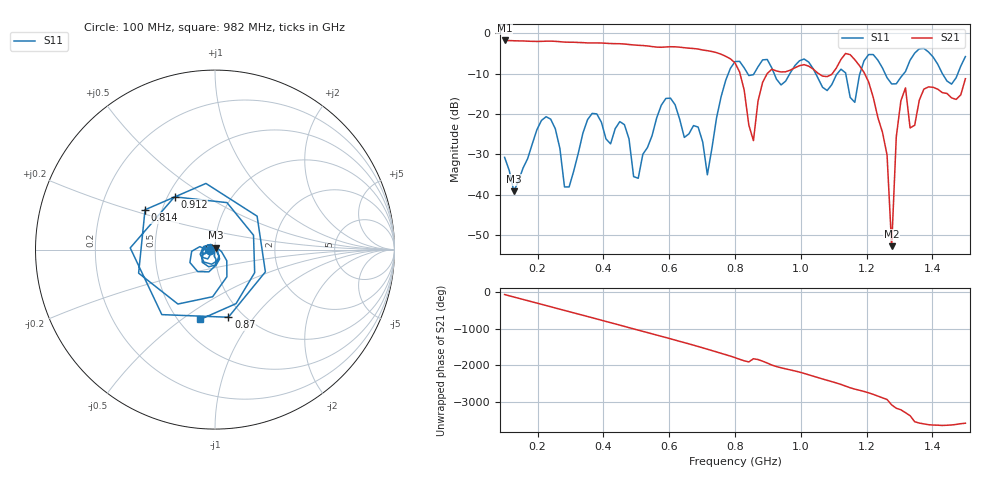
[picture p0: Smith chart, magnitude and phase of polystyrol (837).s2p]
! NanoVNA-App
! Date: 2025-09-25 15:36:24
! Start: 100MHz Stop: 1,5GHz Points: 101
! S-Parameter data: F S11 S21 S12 S22
# Hz S RI R 50
!  Frequency  S11_Real  S11_Imag  S21_Real  S21_Imag  S12_Real  S12_Imag  S22_Real  S22_Imag
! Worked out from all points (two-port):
!   101 points, 100 MHz to 1.5 GHz, reference 50 ohm
!   highest |S21| = -1.80 dB at 100 MHz (marker M1); lowest = -52.7 dB at 1.276 GHz (marker M2)
!   |S21| within 3 dB of the highest: start of sweep to 743.3 MHz
!   lowest |S11| = -39.1 dB at 128 MHz (marker M3), VSWR 1.02, Z = 50.3 + j1.06 ohm
!   |S11| at or under -10 dB: start of sweep to 779.8 MHz; 1.045 GHz to 1.111 GHz (65.87 MHz wide, 6.11 % of centre); 1.256 GHz to 1.313 GHz (56.65 MHz wide, 4.41 % of centre) (the widest 3 of 7)
!   S12 and S22 are empty: the file has one direction only
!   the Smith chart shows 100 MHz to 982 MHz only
!   S11 on the Smith chart (normalised r, x): 100 MHz: 0.94, -0.01; 814 MHz: 0.40, +0.22; 870 MHz: 0.85, -0.75; 912 MHz: 0.54, +0.37; 982 MHz: 0.64, -0.59
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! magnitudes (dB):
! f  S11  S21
! 100 MHz  -30.7  -1.8
! 128 MHz  -39.1  -1.9
! 212 MHz  -21.6  -2.0
! 282 MHz  -38.0  -2.2
! 338 MHz  -24.7  -2.3
! 506 MHz  -35.9  -3.0
! 576 MHz  -17.8  -3.5
! 716 MHz  -35.0  -4.3
! 800 MHz  -7.0  -7.3
! 814 MHz  -7.0  -9.6
! 856 MHz  -10.3  -26.6
! 870 MHz  -8.3  -16.8
! 912 MHz  -8.6  -8.9
! 982 MHz  -8.0  -8.6
! 1.038 GHz  -8.9  -8.9
! 1.164 GHz  -17.1  -6.6
! 1.206 GHz  -5.3  -12.1
! 1.262 GHz  -11.0  -30.1
! 1.276 GHz  -12.6  -52.7
! 1.29 GHz  -12.5  -25.7
! 1.318 GHz  -9.5  -13.5
! 1.5 GHz  -5.8  -11.3
